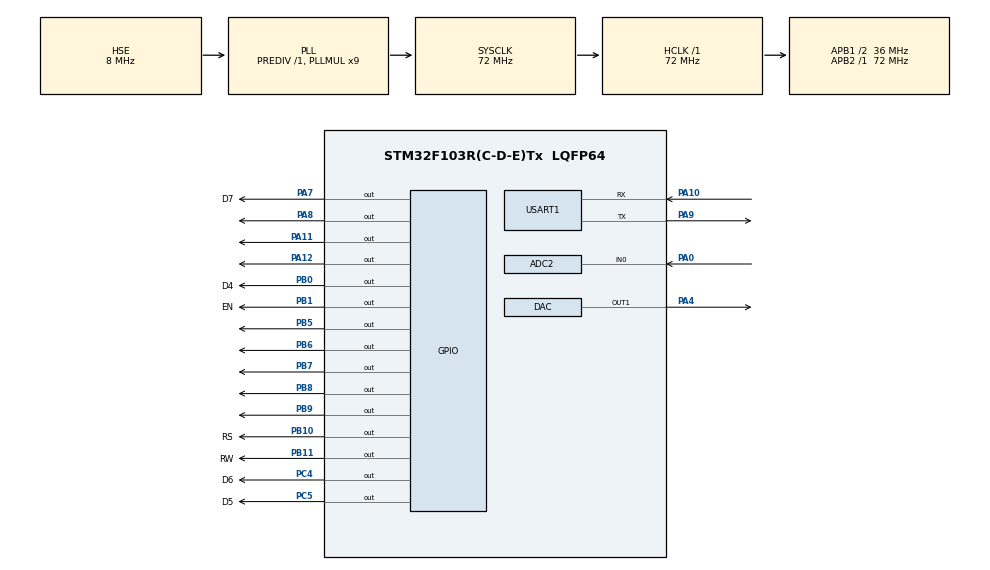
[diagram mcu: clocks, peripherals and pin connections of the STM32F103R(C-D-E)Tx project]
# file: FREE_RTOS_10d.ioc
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ADC1.Channel-0\#ChannelRegularConversion=ADC_CHANNEL_TEMPSENSOR
ADC1.NbrOfConversionFlag=1
ADC1.Rank-0\#ChannelRegularConversion=1
ADC1.SamplingTime-0\#ChannelRegularConversion=ADC_SAMPLETIME_1CYCLE_5
ADC1.master=1
ADC2.Channel-0\#ChannelRegularConversion=ADC_CHANNEL_0
ADC2.NbrOfConversionFlag=1
ADC2.Rank-0\#ChannelRegularConversion=1
ADC2.SamplingTime-0\#ChannelRegularConversion=ADC_SAMPLETIME_239CYCLES_5
DAC.DAC_Trigger=DAC_TRIGGER_T2_TRGO
Dma.DAC_CH1.0.Direction=DMA_MEMORY_TO_PERIPH
Dma.DAC_CH1.0.Instance=DMA2_Channel3
Dma.DAC_CH1.0.MemDataAlignment=DMA_MDATAALIGN_WORD
Dma.DAC_CH1.0.MemInc=DMA_MINC_ENABLE
Dma.DAC_CH1.0.Mode=DMA_CIRCULAR
Dma.DAC_CH1.0.PeriphDataAlignment=DMA_PDATAALIGN_WORD
Dma.DAC_CH1.0.PeriphInc=DMA_PINC_DISABLE
Dma.DAC_CH1.0.Priority=DMA_PRIORITY_LOW
Dma.Request0=DAC_CH1
FREERTOS.Tasks01=defaultTask,-1,128,StartDefaultTask,Default,NULL,Dynamic,NULL,NULL;myTask02,0,128,StartTask02,Default,NULL,Dynamic,NULL,NULL;myTask03,1,128,StartTask03,Default,NULL,Dynamic,NULL,NULL;myTask04,2,128,StartTask04,Default,NULL,Dynamic,NULL,NULL
Mcu.Family=STM32F1
Mcu.Name=STM32F103R(C-D-E)Tx
Mcu.Package=LQFP64
NVIC.DMA2_Channel3_IRQn=true\:5\:0\:false\:false\:true\:true\:false\:true\:true
NVIC.PriorityGroup=NVIC_PRIORITYGROUP_4
NVIC.TIM2_IRQn=true\:5\:0\:false\:false\:true\:true\:true\:true\:true
PA0-WKUP.Signal=ADCx_IN0
PA10.Mode=Asynchronous
PA10.Signal=USART1_RX
PA11.Signal=GPIO_Output
PA12.Signal=GPIO_Output
PA13.Mode=Serial_Wire
PA13.Signal=SYS_JTMS-SWDIO
PA14.Mode=Serial_Wire
PA14.Signal=SYS_JTCK-SWCLK
PA4.Signal=COMP_DAC1_group
PA7.GPIO_Label=D7
PA7.Signal=GPIO_Output
PA8.Signal=GPIO_Output
PA9.Mode=Asynchronous
PA9.Signal=USART1_TX
PB0.GPIO_Label=D4
PB0.Signal=GPIO_Output
PB1.GPIO_Label=EN
PB1.Signal=GPIO_Output
PB10.GPIO_Label=RS
PB10.Signal=GPIO_Output
PB11.GPIO_Label=RW
PB11.Signal=GPIO_Output
PB5.Signal=GPIO_Output
PB6.Signal=GPIO_Output
PB7.Signal=GPIO_Output
PB8.Signal=GPIO_Output
PB9.Signal=GPIO_Output
PC4.GPIO_Label=D6
PC4.Signal=GPIO_Output
PC5.GPIO_Label=D5
PC5.Signal=GPIO_Output
PD0-OSC_IN.Mode=HSE-External-Oscillator
PD0-OSC_IN.Signal=RCC_OSC_IN
PD1-OSC_OUT.Mode=HSE-External-Oscillator
PD1-OSC_OUT.Signal=RCC_OSC_OUT
ProjectManager.HeapSize=0x200
ProjectManager.StackSize=0x400
ProjectManager.TargetToolchain=MDK-ARM V5.32
RCC.ADCPresc=RCC_ADCPCLK2_DIV6
RCC.AHBFreq_Value=72000000
RCC.APB1CLKDivider=RCC_HCLK_DIV2
RCC.APB1Freq_Value=36000000
RCC.APB1TimFreq_Value=72000000
RCC.APB2Freq_Value=72000000
RCC.APB2TimFreq_Value=72000000
RCC.HCLKFreq_Value=72000000
RCC.PLLMUL=RCC_PLL_MUL9
RCC.PLLSourceVirtual=RCC_PLLSOURCE_HSE
RCC.SYSCLKFreq_VALUE=72000000
RCC.SYSCLKSource=RCC_SYSCLKSOURCE_PLLCLK
RCC.USBFreq_Value=72000000
SH.ADCx_IN0.0=ADC2_IN0,IN0
SH.COMP_DAC1_group.0=DAC_OUT1,DAC_OUT1
TIM2.AutoReloadPreload=TIM_AUTORELOAD_PRELOAD_ENABLE
TIM2.Period=7
TIM2.Prescaler=7199
TIM2.TIM_MasterOutputTrigger=TIM_TRGO_UPDATE
USART1.VirtualMode=VM_ASYNC
VP_ADC1_TempSens_Input.Mode=IN-TempSens
VP_FREERTOS_VS_CMSIS_V1.Mode=CMSIS_V1
VP_TIM2_VS_ClockSourceINT.Mode=Internal
board=custom

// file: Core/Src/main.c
/* USER CODE BEGIN Header */
/**
  ******************************************************************************
  * @file           : main.c
  * @brief          : Main program body
  ******************************************************************************
  * @attention
  *
  * Copyright (c) 2022 STMicroelectronics.
  * All rights reserved.
  *
  * This software is licensed under terms that can be found in the LICENSE file
  * in the root directory of this software component.
  * If no LICENSE file comes with this software, it is provided AS-IS.
  *
  ******************************************************************************
  */
/* USER CODE END Header */
#include "main.h"
#include "cmsis_os.h"

/* USER CODE BEGIN Includes */
#include "math.h"
#define NS 100
#define PI 3.1415925
#include <stdio.h>
#include "string.h"
/* USER CODE END Includes */

ADC_HandleTypeDef hadc1;
ADC_HandleTypeDef hadc2;

DAC_HandleTypeDef hdac;
DMA_HandleTypeDef hdma_dac_ch1;

TIM_HandleTypeDef htim2;

UART_HandleTypeDef huart1;

osThreadId defaultTaskHandle;
osThreadId myTask02Handle;
osThreadId myTask03Handle;
osThreadId myTask04Handle;
/* USER CODE BEGIN PV */
uint8_t bin[8];
uint32_t adc_value1;
uint32_t adc_value2;
float v1;
float v2;
float temp;
uint8_t data_send[50];
char data_send1[50];
void lcd_busy(void);
/* USER CODE END PV */

void SystemClock_Config(void);
static void MX_GPIO_Init(void);
static void MX_DMA_Init(void);
static void MX_ADC1_Init(void);
static void MX_USART1_UART_Init(void);
static void MX_ADC2_Init(void);
static void MX_DAC_Init(void);
static void MX_TIM2_Init(void);
void StartDefaultTask(void const * argument);
void StartTask02(void const * argument);
void StartTask03(void const * argument);
void StartTask04(void const * argument);

/* USER CODE BEGIN 0 */
void chuyen_he(int dec)
{
	for(int i = 0; i < 8; i++)
	{
		bin[i] = dec%2;
		dec/=2;
	}
}

void increase(void)
{
	for(int m = 0; m <= 255; m++)
	{
		chuyen_he(m);
		HAL_GPIO_WritePin(GPIOB, GPIO_PIN_5, bin[0]);
		HAL_GPIO_WritePin(GPIOB, GPIO_PIN_6, bin[1]);
		HAL_GPIO_WritePin(GPIOB, GPIO_PIN_7, bin[2]);
		HAL_GPIO_WritePin(GPIOB, GPIO_PIN_8, bin[3]);
		HAL_GPIO_WritePin(GPIOB, GPIO_PIN_9, bin[4]);
		HAL_GPIO_WritePin(GPIOA, GPIO_PIN_8, bin[5]);
		HAL_GPIO_WritePin(GPIOA, GPIO_PIN_11, bin[6]);
		HAL_GPIO_WritePin(GPIOA, GPIO_PIN_12, bin[7]);
		HAL_Delay(1000);
	}
}
void write_to_lcd_4bits(uint8_t rs, uint8_t data)
{
	HAL_GPIO_WritePin(RS_GPIO_Port, RS_Pin, rs);
	HAL_GPIO_WritePin(RW_GPIO_Port, RW_Pin, 0);
	HAL_GPIO_WritePin(EN_GPIO_Port, EN_Pin, 1);

	HAL_GPIO_WritePin(D7_GPIO_Port, D7_Pin, ((data>>3)&0x01));
	HAL_GPIO_WritePin(D6_GPIO_Port, D6_Pin, ((data>>2)&0x01));
	HAL_GPIO_WritePin(D5_GPIO_Port, D5_Pin, ((data>>1)&0x01));
	HAL_GPIO_WritePin(D4_GPIO_Port, D4_Pin, ((data>>0)&0x01));

	for(int i = 0; i < 72; i++)
	{
		__asm("NOP");
	}

	HAL_GPIO_WritePin(EN_GPIO_Port, EN_Pin, 0);
	lcd_busy();
}

void send_command(uint8_t data)
{
	write_to_lcd_4bits(0, (data>>4)&0x0f);
	write_to_lcd_4bits (0, (data>>0)&0x0f);
}

void display_lcd(uint8_t data)
{
	write_to_lcd_4bits(1, (data>>4)&0x0f);
	write_to_lcd_4bits (1, (data>>0)&0x0f);
}

void display_text(char *data)
{
	uint8_t j;
	for(j=0; j<strlen(data); j++)
	{
		display_lcd(data[j]);
	}
}

void  lcd_clear()
{
	send_command(0x01);
	lcd_busy();
}

void set_cursor(uint8_t row, uint8_t col)
{
	uint8_t temp;
	switch(row)
	{
		case 0:
			temp = col|0x80;
		  break;
		case 1:
			temp = col|0xC0;
		  break;
		default:
			temp = col|0x80;
	}
	send_command(temp);
}

void lcd_config()
{
	send_command(0x28); //LCD 4bit, 2-line, 5x8 hieu 2
	lcd_busy();
	send_command(0x28); //LCD 4bit, 2-line, 5x8 hieu 8
	lcd_busy();
	send_command(0x0f);
	lcd_busy();
	send_command(0x06);
	lcd_busy();
	send_command(0x01);
	lcd_busy();
}

void lcd_busy(void)
{
	uint8_t busy_flag_copy;
	GPIO_InitTypeDef GPIO_InitStruct = {0};
	GPIO_InitStruct.Pin = GPIO_PIN_5;
  GPIO_InitStruct.Mode = GPIO_MODE_INPUT;
  GPIO_InitStruct.Pull = GPIO_NOPULL;
  HAL_GPIO_Init(GPIOA, &GPIO_InitStruct);

	HAL_GPIO_WritePin(RS_GPIO_Port, RS_Pin, 0);
	HAL_GPIO_WritePin(RW_GPIO_Port, RW_Pin, 1);
	do{
		busy_flag_copy = 0;
		HAL_GPIO_WritePin(EN_GPIO_Port, EN_Pin, 1);
		for(int i = 0; i < 72; i++);

		busy_flag_copy = HAL_GPIO_ReadPin(GPIOA, GPIO_PIN_5);

		HAL_GPIO_WritePin(EN_GPIO_Port, EN_Pin, 0);
		for(int i = 0; i < 72; i++);

		HAL_GPIO_WritePin(EN_GPIO_Port, EN_Pin, 1);
		for(int i = 0; i < 72; i++);

		HAL_GPIO_WritePin(EN_GPIO_Port, EN_Pin, 0);
		for(int i = 0; i < 72; i++);
	}while(busy_flag_copy);
	HAL_GPIO_WritePin(RW_GPIO_Port, RW_Pin, 0);
	GPIO_InitStruct.Pin = GPIO_PIN_5;
  GPIO_InitStruct.Mode = GPIO_MODE_OUTPUT_PP;
  GPIO_InitStruct.Pull = GPIO_NOPULL;
  GPIO_InitStruct.Speed = GPIO_SPEED_FREQ_LOW;
  HAL_GPIO_Init(GPIOA, &GPIO_InitStruct);
}

uint32_t value[NS];
void get_value(void)
{
	for(int x = 0; x < 100; x++){
			value[x]=(470*sin(x*2*PI/NS)+1800);
		}
}
/* USER CODE END 0 */

int main(void)
{

  /* MCU Configuration--------------------------------------------------------*/

  /* Reset of all peripherals, Initializes the Flash interface and the Systick. */
  HAL_Init();

  /* Configure the system clock */
  SystemClock_Config();

  /* Initialize all configured peripherals */
  MX_GPIO_Init();
  MX_DMA_Init();
  MX_ADC1_Init();
  MX_USART1_UART_Init();
  MX_ADC2_Init();
  MX_DAC_Init();
  MX_TIM2_Init();
  /* USER CODE BEGIN 2 */
	lcd_config();
  /* USER CODE END 2 */

  /* Create the thread(s) */
  /* definition and creation of defaultTask */
  osThreadDef(defaultTask, StartDefaultTask, osPriorityBelowNormal, 0, 128);
  defaultTaskHandle = osThreadCreate(osThread(defaultTask), NULL);

  /* definition and creation of myTask02 */
  osThreadDef(myTask02, StartTask02, osPriorityNormal, 0, 128);
  myTask02Handle = osThreadCreate(osThread(myTask02), NULL);

  /* definition and creation of myTask03 */
  osThreadDef(myTask03, StartTask03, osPriorityAboveNormal, 0, 128);
  myTask03Handle = osThreadCreate(osThread(myTask03), NULL);

  /* definition and creation of myTask04 */
  osThreadDef(myTask04, StartTask04, osPriorityHigh, 0, 128);
  myTask04Handle = osThreadCreate(osThread(myTask04), NULL);

  /* Start scheduler */
  osKernelStart();

  /* We should never get here as control is now taken by the scheduler */
  /* Infinite loop */
  while (1)
  {

  }
}

void SystemClock_Config(void)
{
  RCC_OscInitTypeDef RCC_OscInitStruct = {0};
  RCC_ClkInitTypeDef RCC_ClkInitStruct = {0};
  RCC_PeriphCLKInitTypeDef PeriphClkInit = {0};

  /** Initializes the RCC Oscillators according to the specified parameters
  * in the RCC_OscInitTypeDef structure.
  */
  RCC_OscInitStruct.OscillatorType = RCC_OSCILLATORTYPE_HSE;
  RCC_OscInitStruct.HSEState = RCC_HSE_ON;
  RCC_OscInitStruct.HSEPredivValue = RCC_HSE_PREDIV_DIV1;
  RCC_OscInitStruct.HSIState = RCC_HSI_ON;
  RCC_OscInitStruct.PLL.PLLState = RCC_PLL_ON;
  RCC_OscInitStruct.PLL.PLLSource = RCC_PLLSOURCE_HSE;
  RCC_OscInitStruct.PLL.PLLMUL = RCC_PLL_MUL9;
  if (HAL_RCC_OscConfig(&RCC_OscInitStruct) != HAL_OK)
  {
    Error_Handler();
  }

  /** Initializes the CPU, AHB and APB buses clocks
  */
  RCC_ClkInitStruct.ClockType = RCC_CLOCKTYPE_HCLK|RCC_CLOCKTYPE_SYSCLK
                              |RCC_CLOCKTYPE_PCLK1|RCC_CLOCKTYPE_PCLK2;
  RCC_ClkInitStruct.SYSCLKSource = RCC_SYSCLKSOURCE_PLLCLK;
  RCC_ClkInitStruct.AHBCLKDivider = RCC_SYSCLK_DIV1;
  RCC_ClkInitStruct.APB1CLKDivider = RCC_HCLK_DIV2;
  RCC_ClkInitStruct.APB2CLKDivider = RCC_HCLK_DIV1;

  if (HAL_RCC_ClockConfig(&RCC_ClkInitStruct, FLASH_LATENCY_2) != HAL_OK)
  {
    Error_Handler();
  }
  PeriphClkInit.PeriphClockSelection = RCC_PERIPHCLK_ADC;
  PeriphClkInit.AdcClockSelection = RCC_ADCPCLK2_DIV6;
  if (HAL_RCCEx_PeriphCLKConfig(&PeriphClkInit) != HAL_OK)
  {
    Error_Handler();
  }
}

static void MX_ADC1_Init(void)
{

  ADC_ChannelConfTypeDef sConfig = {0};

  /** Common config
  */
  hadc1.Instance = ADC1;
  hadc1.Init.ScanConvMode = ADC_SCAN_DISABLE;
  hadc1.Init.ContinuousConvMode = DISABLE;
  hadc1.Init.DiscontinuousConvMode = DISABLE;
  hadc1.Init.ExternalTrigConv = ADC_SOFTWARE_START;
  hadc1.Init.DataAlign = ADC_DATAALIGN_RIGHT;
  hadc1.Init.NbrOfConversion = 1;
  if (HAL_ADC_Init(&hadc1) != HAL_OK)
  {
    Error_Handler();
  }

  /** Configure Regular Channel
  */
  sConfig.Channel = ADC_CHANNEL_TEMPSENSOR;
  sConfig.Rank = ADC_REGULAR_RANK_1;
  sConfig.SamplingTime = ADC_SAMPLETIME_1CYCLE_5;
  if (HAL_ADC_ConfigChannel(&hadc1, &sConfig) != HAL_OK)
  {
    Error_Handler();
  }

}

static void MX_ADC2_Init(void)
{

  ADC_ChannelConfTypeDef sConfig = {0};

  /** Common config
  */
  hadc2.Instance = ADC2;
  hadc2.Init.ScanConvMode = ADC_SCAN_DISABLE;
  hadc2.Init.ContinuousConvMode = DISABLE;
  hadc2.Init.DiscontinuousConvMode = DISABLE;
  hadc2.Init.ExternalTrigConv = ADC_SOFTWARE_START;
  hadc2.Init.DataAlign = ADC_DATAALIGN_RIGHT;
  hadc2.Init.NbrOfConversion = 1;
  if (HAL_ADC_Init(&hadc2) != HAL_OK)
  {
    Error_Handler();
  }

  /** Configure Regular Channel
  */
  sConfig.Channel = ADC_CHANNEL_0;
  sConfig.Rank = ADC_REGULAR_RANK_1;
  sConfig.SamplingTime = ADC_SAMPLETIME_239CYCLES_5;
  if (HAL_ADC_ConfigChannel(&hadc2, &sConfig) != HAL_OK)
  {
    Error_Handler();
  }

}

static void MX_DAC_Init(void)
{

  DAC_ChannelConfTypeDef sConfig = {0};

  /** DAC Initialization
  */
  hdac.Instance = DAC;
  if (HAL_DAC_Init(&hdac) != HAL_OK)
  {
    Error_Handler();
  }

  /** DAC channel OUT1 config
  */
  sConfig.DAC_Trigger = DAC_TRIGGER_T2_TRGO;
  sConfig.DAC_OutputBuffer = DAC_OUTPUTBUFFER_ENABLE;
  if (HAL_DAC_ConfigChannel(&hdac, &sConfig, DAC_CHANNEL_1) != HAL_OK)
  {
    Error_Handler();
  }

}

static void MX_TIM2_Init(void)
{

  TIM_ClockConfigTypeDef sClockSourceConfig = {0};
  TIM_MasterConfigTypeDef sMasterConfig = {0};

  htim2.Instance = TIM2;
  htim2.Init.Prescaler = 7199;
  htim2.Init.CounterMode = TIM_COUNTERMODE_UP;
  htim2.Init.Period = 7;
  htim2.Init.ClockDivision = TIM_CLOCKDIVISION_DIV1;
  htim2.Init.AutoReloadPreload = TIM_AUTORELOAD_PRELOAD_ENABLE;
  if (HAL_TIM_Base_Init(&htim2) != HAL_OK)
  {
    Error_Handler();
  }
  sClockSourceConfig.ClockSource = TIM_CLOCKSOURCE_INTERNAL;
  if (HAL_TIM_ConfigClockSource(&htim2, &sClockSourceConfig) != HAL_OK)
  {
    Error_Handler();
  }
  sMasterConfig.MasterOutputTrigger = TIM_TRGO_UPDATE;
  sMasterConfig.MasterSlaveMode = TIM_MASTERSLAVEMODE_DISABLE;
  if (HAL_TIMEx_MasterConfigSynchronization(&htim2, &sMasterConfig) != HAL_OK)
  {
    Error_Handler();
  }

}

static void MX_USART1_UART_Init(void)
{

  huart1.Instance = USART1;
  huart1.Init.BaudRate = 115200;
  huart1.Init.WordLength = UART_WORDLENGTH_8B;
  huart1.Init.StopBits = UART_STOPBITS_1;
  huart1.Init.Parity = UART_PARITY_NONE;
  huart1.Init.Mode = UART_MODE_TX_RX;
  huart1.Init.HwFlowCtl = UART_HWCONTROL_NONE;
  huart1.Init.OverSampling = UART_OVERSAMPLING_16;
  if (HAL_UART_Init(&huart1) != HAL_OK)
  {
    Error_Handler();
  }

}

static void MX_DMA_Init(void)
{

  /* DMA controller clock enable */
  __HAL_RCC_DMA2_CLK_ENABLE();

  /* DMA interrupt init */
  /* DMA2_Channel3_IRQn interrupt configuration */
  HAL_NVIC_SetPriority(DMA2_Channel3_IRQn, 5, 0);
  HAL_NVIC_EnableIRQ(DMA2_Channel3_IRQn);

}

static void MX_GPIO_Init(void)
{
  GPIO_InitTypeDef GPIO_InitStruct = {0};

  /* GPIO Ports Clock Enable */
  __HAL_RCC_GPIOD_CLK_ENABLE();
  __HAL_RCC_GPIOA_CLK_ENABLE();
  __HAL_RCC_GPIOC_CLK_ENABLE();
  __HAL_RCC_GPIOB_CLK_ENABLE();

  /*Configure GPIO pin Output Level */
  HAL_GPIO_WritePin(GPIOA, D7_Pin|GPIO_PIN_8|GPIO_PIN_11|GPIO_PIN_12, GPIO_PIN_RESET);

  /*Configure GPIO pin Output Level */
  HAL_GPIO_WritePin(GPIOC, D6_Pin|D5_Pin, GPIO_PIN_RESET);

  /*Configure GPIO pin Output Level */
  HAL_GPIO_WritePin(GPIOB, D4_Pin|EN_Pin|RS_Pin|RW_Pin
                          |GPIO_PIN_5|GPIO_PIN_6|GPIO_PIN_7|GPIO_PIN_8
                          |GPIO_PIN_9, GPIO_PIN_RESET);

  /*Configure GPIO pins : D7_Pin PA8 PA11 PA12 */
  GPIO_InitStruct.Pin = D7_Pin|GPIO_PIN_8|GPIO_PIN_11|GPIO_PIN_12;
  GPIO_InitStruct.Mode = GPIO_MODE_OUTPUT_PP;
  GPIO_InitStruct.Pull = GPIO_NOPULL;
  GPIO_InitStruct.Speed = GPIO_SPEED_FREQ_LOW;
  HAL_GPIO_Init(GPIOA, &GPIO_InitStruct);

  /*Configure GPIO pins : D6_Pin D5_Pin */
  GPIO_InitStruct.Pin = D6_Pin|D5_Pin;
  GPIO_InitStruct.Mode = GPIO_MODE_OUTPUT_PP;
  GPIO_InitStruct.Pull = GPIO_NOPULL;
  GPIO_InitStruct.Speed = GPIO_SPEED_FREQ_LOW;
  HAL_GPIO_Init(GPIOC, &GPIO_InitStruct);

  /*Configure GPIO pins : D4_Pin EN_Pin RS_Pin RW_Pin
                           PB5 PB6 PB7 PB8
                           PB9 */
  GPIO_InitStruct.Pin = D4_Pin|EN_Pin|RS_Pin|RW_Pin
                          |GPIO_PIN_5|GPIO_PIN_6|GPIO_PIN_7|GPIO_PIN_8
                          |GPIO_PIN_9;
  GPIO_InitStruct.Mode = GPIO_MODE_OUTPUT_PP;
  GPIO_InitStruct.Pull = GPIO_NOPULL;
  GPIO_InitStruct.Speed = GPIO_SPEED_FREQ_LOW;
  HAL_GPIO_Init(GPIOB, &GPIO_InitStruct);

}

void StartDefaultTask(void const * argument)
{
  /* USER CODE BEGIN 5 */
  /* Infinite loop */
  for(;;)
  {
		increase();
  }
  /* USER CODE END 5 */
}

void StartTask02(void const * argument)
{
  /* USER CODE BEGIN StartTask02 */
  /* Infinite loop */
  for(;;)
  {
    HAL_ADC_Start(&hadc1);
		HAL_ADC_PollForConversion(&hadc1, 10);
		adc_value1 = HAL_ADC_GetValue(&hadc1);
		v1 = adc_value1*3.3/4096;
		temp = ((1.43 - v1)/(0.043))+25;
		sprintf(&data_send[0], "temp = %4.2f\r\n", temp);
		HAL_UART_Transmit(&huart1, &data_send[0], sizeof(data_send), 10);
	    osDelay(1000);
  }
  /* USER CODE END StartTask02 */
}

void StartTask03(void const * argument)
{
  /* USER CODE BEGIN StartTask03 */
  /* Infinite loop */
  for(;;)
  {
			HAL_DAC_Start(&hdac, DAC1_CHANNEL_1);
	    get_value();
	    HAL_TIM_Base_Start(&htim2);
	    HAL_DAC_Start_DMA(&hdac, DAC_CHANNEL_1, value, 100, DAC_ALIGN_12B_R);
  }
  /* USER CODE END StartTask03 */
}

void StartTask04(void const * argument)
{
  /* USER CODE BEGIN StartTask04 */
  /* Infinite loop */

  for(;;)
  {
    HAL_ADC_Start(&hadc2);
		HAL_ADC_PollForConversion(&hadc2, 10);
		adc_value2 = HAL_ADC_GetValue(&hadc2);
		v2 = adc_value2*3.3/4096;
		lcd_clear();
		set_cursor(0,0);
		sprintf(&data_send1[0], "R = %d", adc_value2);
		display_text(data_send1);
 }
  /* USER CODE END StartTask04 */
}

void Error_Handler(void)
{
  __disable_irq();
  while (1)
  {
  }
}
